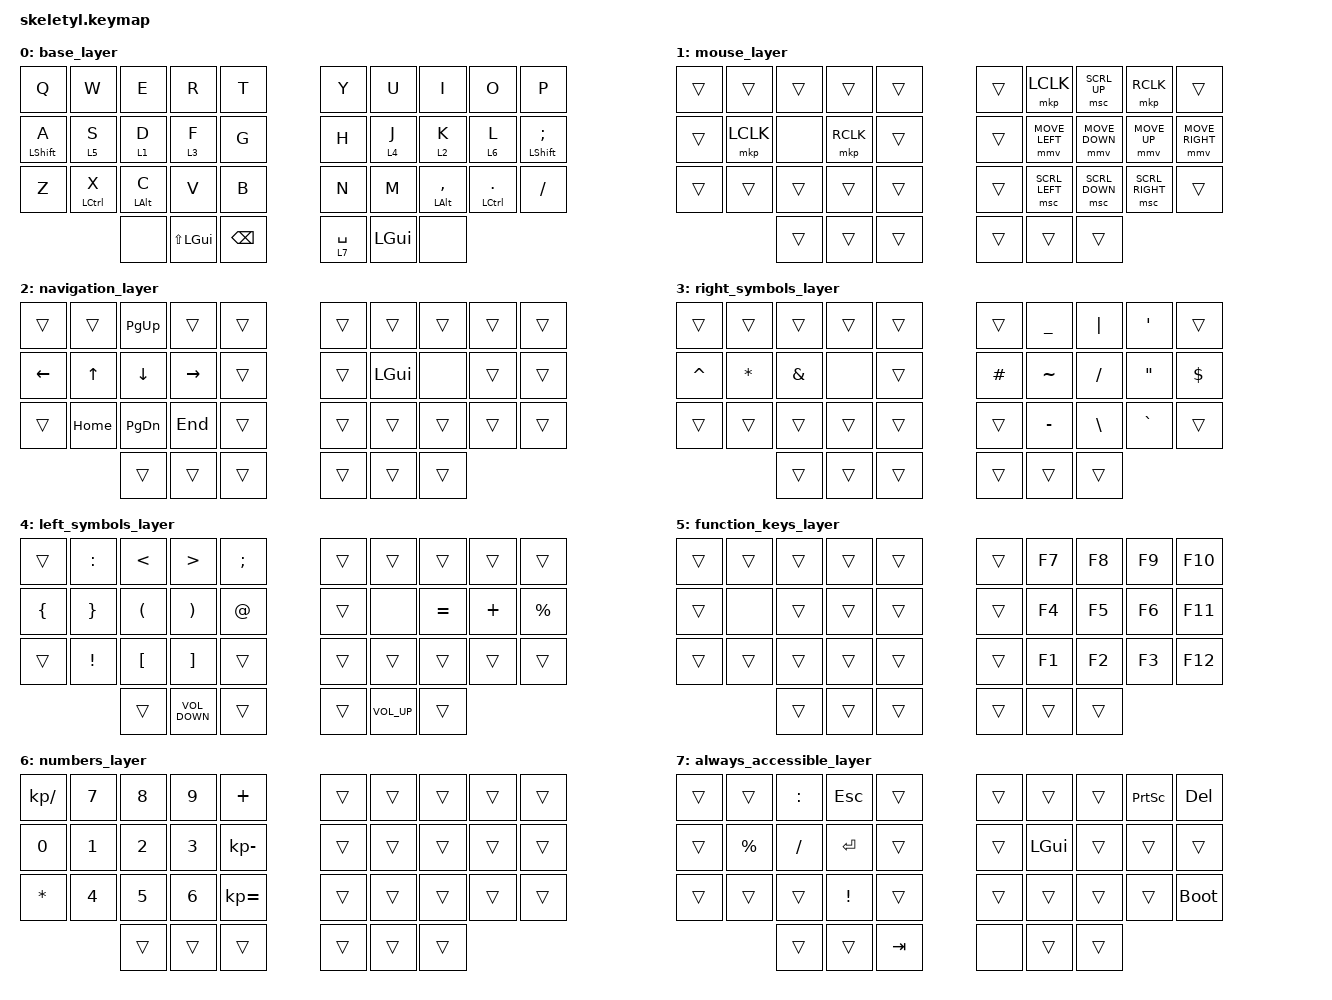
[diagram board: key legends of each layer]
/*
 * Copyright (c) 2020 The ZMK Contributors
 *
 * SPDX-License-Identifier: MIT
 */

#include <behaviors.dtsi>
#include <dt-bindings/zmk/keys.h>
#include <dt-bindings/zmk/bt.h>
#include <dt-bindings/zmk/pointing.h>

/ {
  keymap {
    compatible = "zmk,keymap";
    base_layer {
      bindings = <
        &kp Q        &kp W       &kp E      &kp R        &kp T         &kp Y       &kp U    &kp I          &kp O         &kp P
        &mt LSHIFT A &lt 5 S     &lt 1 D    &lt 3 F      &kp G         &kp H       &lt 4 J  &lt 2 K        &lt 6 L       &mt LSHIFT SEMI
        &kp Z        &mt LCTRL X &mt LALT C &kp V        &kp B         &kp N       &kp M    &mt LALT COMMA &mt LCTRL DOT &kp SLASH
                                 &none      &kp LS(LGUI) &kp BSPC      &lt 7 SPACE &kp LGUI &none
      >;
    };

    mouse_layer {
      bindings = <
        &trans &trans    &trans &trans    &trans            &trans &mkp LCLK      &msc SCRL_UP   &mkp RCLK       &trans
        &trans &mkp LCLK &none  &mkp RCLK &trans            &trans &mmv MOVE_LEFT &mmv MOVE_DOWN &mmv MOVE_UP    &mmv MOVE_RIGHT
        &trans &trans    &trans &trans    &trans            &trans &msc SCRL_LEFT &msc SCRL_DOWN &msc SCRL_RIGHT &trans
                         &trans &trans    &trans            &trans &trans         &trans
      >;
    };

    navigation_layer {
      bindings = <
        &trans   &trans   &kp PG_UP &trans    &trans        &trans &trans   &trans &trans &trans
        &kp LEFT &kp UP   &kp DOWN  &kp RIGHT &trans        &trans &kp LGUI &none  &trans &trans
        &trans   &kp HOME &kp PG_DN &kp END   &trans        &trans &trans   &trans &trans &trans
                          &trans    &trans    &trans        &trans &trans   &trans
      >;
    };

    right_symbols_layer {
      bindings = <
        &trans    &trans   &trans   &trans &trans           &trans   &kp UNDER &kp PIPE  &kp SQT   &trans
        &kp CARET &kp STAR &kp AMPS &none  &trans           &kp HASH &kp TILDE &kp SLASH &kp DQT   &kp DOLLAR
        &trans    &trans   &trans   &trans &trans           &trans   &kp MINUS &kp BSLH  &kp GRAVE &trans
                           &trans   &trans &trans           &trans   &trans    &trans
      >;
    };

    left_symbols_layer {
      bindings = <
        &trans         &kp COLON       &kp LESS_THAN &kp GREATER_THAN  &kp SEMI     &trans &trans          &trans    &trans   &trans
        &kp LEFT_BRACE &kp RIGHT_BRACE &kp LPAR      &kp RPAR          &kp AT       &trans &none           &kp EQUAL &kp PLUS &kp PERCENT
        &trans         &kp EXCLAMATION &kp LBKT      &kp RBKT          &trans       &trans &trans          &trans    &trans   &trans
                                       &trans        &kp K_VOLUME_DOWN &trans       &trans &kp K_VOLUME_UP &trans
      >;
    };

    function_keys_layer {
      bindings = <
        &trans &trans &trans &trans &trans                  &trans &kp F7 &kp F8 &kp F9 &kp F10
        &trans &none  &trans &trans &trans                  &trans &kp F4 &kp F5 &kp F6 &kp F11
        &trans &trans &trans &trans &trans                  &trans &kp F1 &kp F2 &kp F3 &kp F12
                      &trans &trans &trans                  &trans &trans &trans
      >;
    };

    numbers_layer {
      bindings = <
        &kp KP_DIVIDE &kp N7 &kp N8 &kp N9 &kp PLUS          &trans &trans &trans &trans &trans
        &kp N0        &kp N1 &kp N2 &kp N3 &kp KP_MINUS      &trans &trans &trans &trans &trans
        &kp STAR      &kp N4 &kp N5 &kp N6 &kp KP_EQUAL      &trans &trans &trans &trans &trans
                             &trans &trans &trans            &trans &trans &trans
      >;
    };

    always_accessible_layer {
      bindings = <
        &trans &trans    &kp COLON &kp ESC   &trans        &trans &trans   &trans &kp PSCRN &kp DEL
        &trans &kp PRCNT &kp FSLH  &kp ENTER &trans        &trans &kp LGUI &trans &trans    &trans
        &trans &trans    &trans    &kp EXCL  &trans        &trans &trans   &trans &trans    &bootloader
                         &trans    &trans    &kp TAB       &none  &trans   &trans
      >;
    };
  };
};
